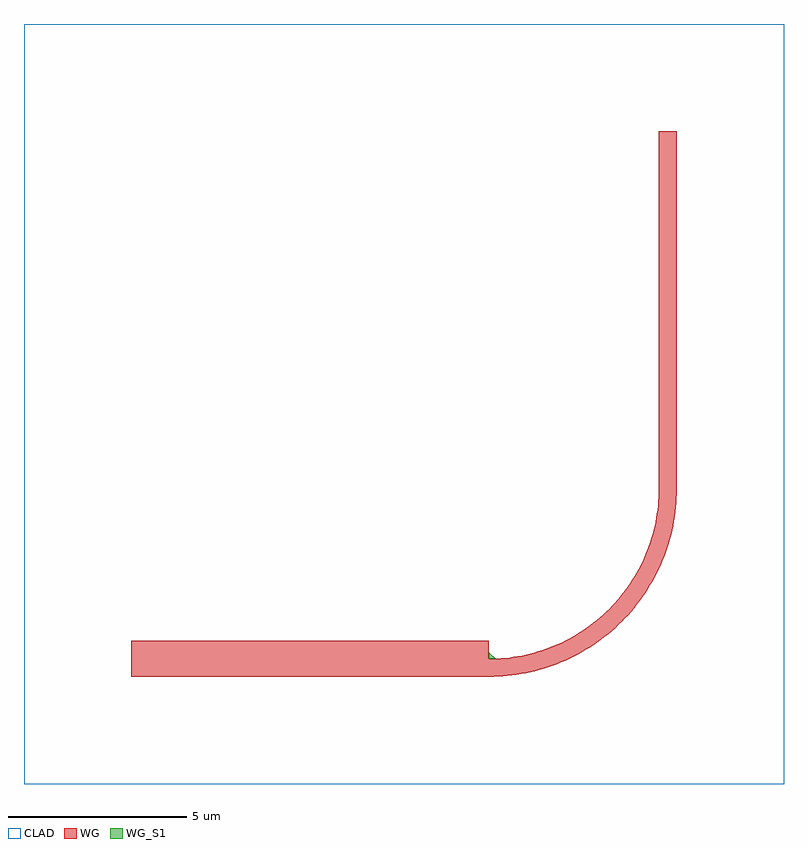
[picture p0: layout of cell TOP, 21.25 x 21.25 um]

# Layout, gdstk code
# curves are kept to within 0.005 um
import gdstk
lib = gdstk.Library(unit=1e-6, precision=1e-09)
def R(c, l, rs):  # rectangles x0, y0, x1, y1
    for r in rs: c.add(gdstk.rectangle(r[:2], r[2:], *l))
def P(c, l, *ps):  # polygons
    for p in ps: c.add(gdstk.Polygon(p, *l))
WG = (1, 0)
WG_S1 = (1, 1)
CLAD = (2, 0)

top = lib.new_cell('TOP')
R(top, WG, [(0,-0.25,10,0.25), (0,-0.25,10,0.75), (14.75,5,15.25,15)])
P(top, WG, [(10,-0.25),(10,0.25),(10.233,0.256),(10.466,0.273),(10.697,0.301),(10.927,0.341),(11.154,0.392),(11.379,0.455),(11.6,0.528),(11.818,0.612),(12.031,0.706),(12.239,0.811),(12.442,0.926),(12.639,1.051),(12.83,1.185),(13.013,1.328),(13.19,1.48),(13.359,1.641),(13.52,1.81),(13.672,1.987),(13.815,2.17),(13.949,2.361),(14.074,2.558),(14.189,2.761),(14.294,2.969),(14.388,3.182),(14.472,3.4),(14.545,3.621),(14.608,3.846),(14.659,4.073),(14.699,4.303),(14.727,4.534),(14.744,4.767),(14.75,5),(15.25,5),(15.244,4.742),(15.225,4.485),(15.193,4.23),(15.149,3.976),(15.093,3.724),(15.024,3.476),(14.943,3.231),(14.85,2.991),(14.746,2.755),(14.63,2.525),(14.503,2.301),(14.365,2.083),(14.217,1.873),(14.058,1.669),(13.89,1.474),(13.712,1.288),(13.526,1.11),(13.331,0.942),(13.127,0.783),(12.917,0.635),(12.699,0.497),(12.475,0.37),(12.245,0.254),(12.009,0.15),(11.769,0.057),(11.524,-0.024),(11.276,-0.093),(11.024,-0.149),(10.77,-0.193),(10.515,-0.225),(10.258,-0.244)])
P(top, WG_S1, [(9.999,0.249),(9.999,0.451),(10.118,0.25)],
  [(9.999,0.249),(9.999,0.414),(10.201,0.254),(10.116,0.25)])
R(top, CLAD, [(-3,-3.25,18.25,18)])

lib.write_gds('TOP.gds')
